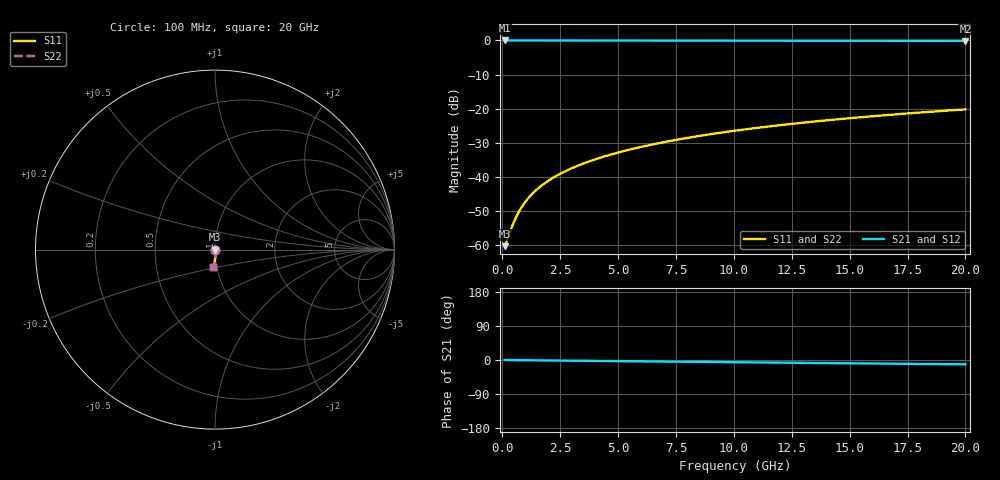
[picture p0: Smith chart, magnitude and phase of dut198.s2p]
! Touchstone file exported from HFSS 2026.1.0
!  File:  C:/ffzhzh/LocalFiles/Ansys_Project_Files/temp_train_BSMRDL_198_1782987683_45328.aedt
!  Generated:  06:22:30 PM Jul  2, 2026
!  Design:  BSMRDL
!  Project:  temp_train_BSMRDL_198_1782987683_45328
! Variables:
!  h_bsmrdl = 3.64um
!  h_ox = 20um
!  h_rdl = 5um
!  h_sub = 80um
!  h_tmrdl = 5um
!  h_tsv = 80um
!  h_via = 3um
!  l_bsmrdl = 164.51um
!  l_sub = 564.51um
!  l_tmrdl = 200um
!  m_sub = 200um
!  pitch = 24.27um
!  r_tsv = 6um
!  s_tmrdl = 10um
!  w_bsmrdl = 23.23um
!  w_sub = 500um
!  w_tmrdl = 12um
!  x_tsv_center1 = 206um
!  x_tsv_center2 = 393.74um
!  x_tsv_center3 = 605.74um
!  x_tsv_center4 = 793.48um
!  x_tsv_center5 = 1005.48um
!  x_tsv_center6 = 1193.22um
# GHz S MA R 50.000000
! Terminal data exported
! Port[1] = BSM_RDL1_1_T1
! Port[2] = BSM_RDL1_1_T2
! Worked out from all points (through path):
!   200 points, 100 MHz to 20 GHz, reference 50 ohm
!   highest |S21| = -0.01 dB at 100 MHz (marker M1); lowest = -0.1 dB at 20 GHz (marker M2)
!   group delay of S21, straight-line fit = 1.58 ps
!   lowest |S11| = -60.3 dB at 100 MHz (marker M3), VSWR 1.00, Z = 50.1 - j0.0199 ohm
!   |S11| at or under -10 dB: start of sweep to end of sweep
!   |S22| runs from -60.3 to -20.2 dB; largest |S21 - S12| = 2.1e-15
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0.1  0.0009682 -11.9  0.9991 -0.1  0.9991 -0.1  0.0009682 -11.9
! Gamma 0 0 0 0
! Port Impedance 50 0 50 0
0.2  0.001158 -22.5  0.9989 -0.1  0.9989 -0.1  0.001158 -22.5
0.4  0.001791 -39.1  0.9986 -0.3  0.9986 -0.3  0.001791 -39.1
0.5  0.002181 -45.2  0.9985 -0.3  0.9985 -0.3  0.002181 -45.2
0.7  0.003023 -54.4  0.9982 -0.5  0.9982 -0.5  0.003023 -54.4
0.8  0.00346 -57.8  0.9981 -0.5  0.9981 -0.5  0.00346 -57.8
1  0.004347 -63.1  0.998 -0.6  0.998 -0.6  0.004347 -63.1
1.3  0.005691 -68.5  0.9978 -0.8  0.9978 -0.8  0.005691 -68.5
1.7  0.007493 -73.1  0.9977 -1.0  0.9977 -1.0  0.007493 -73.1
2.2  0.009757 -76.6  0.9975 -1.3  0.9975 -1.3  0.009757 -76.6
2.8  0.0125 -79.2  0.9972 -1.7  0.9972 -1.7  0.0125 -79.2
3.5  0.01572 -81.2  0.9969 -2.1  0.9969 -2.1  0.01572 -81.2
4.2  0.01899 -82.6  0.9965 -2.5  0.9965 -2.5  0.01899 -82.6
5  0.02278 -83.8  0.9961 -3.0  0.9961 -3.0  0.02278 -83.8
5.9  0.0271 -84.9  0.9956 -3.5  0.9956 -3.5  0.0271 -84.9
6.8  0.03147 -85.8  0.995 -4.0  0.995 -4.0  0.03147 -85.8
8.3  0.03885 -87.2  0.994 -4.9  0.994 -4.9  0.03885 -87.2
10.1  0.04783 -88.7  0.9928 -5.9  0.9928 -5.9  0.04784 -88.7
11.7  0.05588 -90.0  0.9917 -6.8  0.9917 -6.8  0.05588 -90.0
13.4  0.06447 -91.3  0.9906 -7.8  0.9906 -7.8  0.06447 -91.2
16.7  0.08117 -93.6  0.9882 -9.6  0.9882 -9.6  0.08117 -93.6
20  0.0978 -95.9  0.9856 -11.5  0.9856 -11.5  0.09781 -95.9
